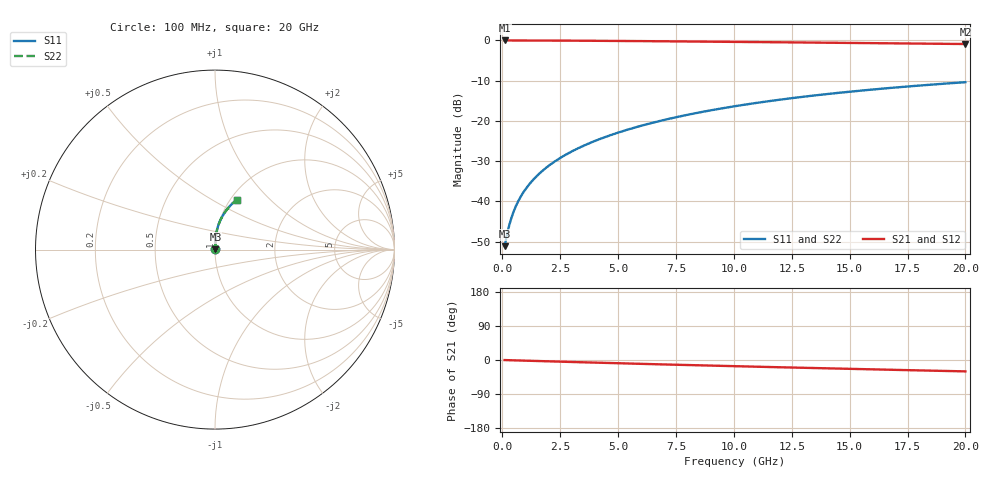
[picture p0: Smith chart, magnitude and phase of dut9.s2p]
! Touchstone file exported from HFSS 2024.1.0
!  File:  C:/UserFiles/LocalFiles/RDL_TSV_Batchsim/temp_RDL_top_9_1778679772.aedt
!  Generated:  09:45:20 PM May 13, 2026
!  Design:  RDL_top
!  Project:  temp_RDL_top_9_1778679772
!  Setup:  Setup1
!  Solution:  Sweep
! Variables:
!  dtsv = 10.80580581um
!  hbump = 3um
!  htsv = 98.51um
!  ldown = 100um
!  lrdl = 384.06um
!  p = 40
!  p1 = 54.42um
!  rhole = 1um
!  t = 450um
!  tdown = 3.915915916um
!  trdl = 2.79um
!  wdown = 15.38538539um
!  wrdl = 23.51um
# GHz S MA R 50.000000
! Terminal data exported
! Port[1] = Box2_T1
! Port[2] = Box2_T2
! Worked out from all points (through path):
!   200 points, 100 MHz to 20 GHz, reference 50 ohm
!   highest |S21| = -0.02 dB at 100 MHz (marker M1); lowest = -0.9 dB at 20 GHz (marker M2)
!   group delay of S21, straight-line fit = 4.14 ps
!   lowest |S11| = -51.1 dB at 100 MHz (marker M3), VSWR 1.01, Z = 50.2 + j0.151 ohm
!   |S11| at or under -10 dB: start of sweep to end of sweep
!   |S22| runs from -51.1 to -10.4 dB; largest |S21 - S12| = 2.6e-15
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0.1  0.002788 32.7  0.9976 -0.2  0.9976 -0.2  0.002788 32.7
! Gamma 0 0 0 0
! Port Impedance 50 0 50 0
0.2  0.00384 50.8  0.9975 -0.4  0.9975 -0.4  0.00384 50.8
0.3  0.005073 60.1  0.9974 -0.6  0.9974 -0.6  0.005073 60.1
0.4  0.006351 65.6  0.9973 -0.7  0.9973 -0.7  0.006351 65.6
0.5  0.007638 69.3  0.9971 -0.9  0.9971 -0.9  0.007638 69.3
0.6  0.00893 71.9  0.997 -1.1  0.997 -1.1  0.00893 71.9
0.8  0.01153 75.7  0.9967 -1.4  0.9967 -1.4  0.01153 75.7
1.1  0.01548 79.1  0.9963 -2.0  0.9963 -2.0  0.01548 79.1
1.3  0.01816 80.6  0.996 -2.3  0.996 -2.3  0.01816 80.7
1.6  0.02221 82.3  0.9955 -2.8  0.9955 -2.8  0.02221 82.3
2.1  0.02908 84.0  0.9944 -3.7  0.9944 -3.7  0.02908 84.1
2.7  0.0375 85.2  0.9927 -4.7  0.9927 -4.7  0.0375 85.2
3.5  0.04904 86.0  0.9901 -6.1  0.9901 -6.1  0.04904 86.0
4.2  0.05941 86.2  0.9874 -7.3  0.9874 -7.3  0.05942 86.2
5  0.07157 86.1  0.9839 -8.6  0.9839 -8.6  0.07158 86.1
6.8  0.09985 84.8  0.9752 -11.5  0.9752 -11.5  0.09987 84.9
8.4  0.1256 83.1  0.9668 -13.9  0.9668 -13.9  0.1257 83.1
10.1  0.1532 80.9  0.9576 -16.4  0.9576 -16.4  0.1533 80.9
11.7  0.179 78.6  0.9487 -18.8  0.9487 -18.8  0.179 78.6
13.4  0.2059 76.0  0.9392 -21.2  0.9392 -21.2  0.2059 76.1
16.7  0.2559 71.1  0.9203 -25.7  0.9203 -25.7  0.256 71.1
20  0.3026 66.4  0.9011 -30.0  0.9011 -30.0  0.3027 66.4
